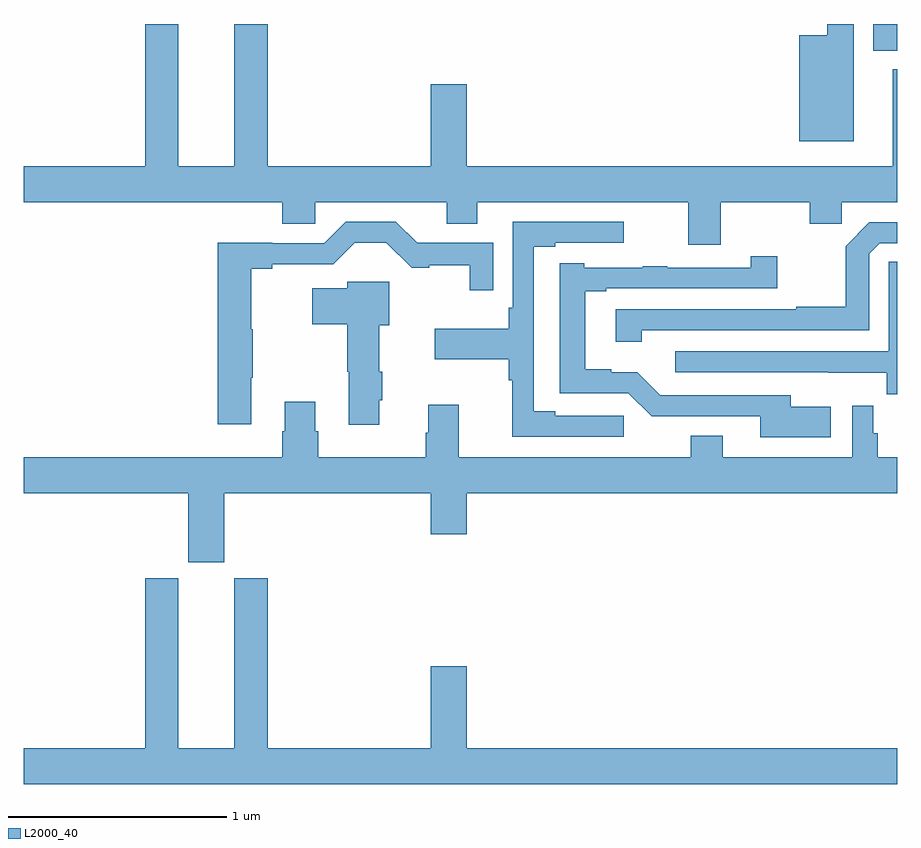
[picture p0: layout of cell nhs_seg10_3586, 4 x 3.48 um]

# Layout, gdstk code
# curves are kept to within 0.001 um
import gdstk
lib = gdstk.Library(unit=1e-6, precision=1e-09)
def R(c, l, rs):  # rectangles x0, y0, x1, y1
    for r in rs: c.add(gdstk.rectangle(r[:2], r[2:], *l))
def P(c, l, *ps):  # polygons
    for p in ps: c.add(gdstk.Polygon(p, *l))
L2000_40 = (2000, 40)

nhs_seg10_3586 = lib.new_cell('nhs_seg10_3586')
R(nhs_seg10_3586, L2000_40, [(310.889,1266.377,311,1266.5)])
P(nhs_seg10_3586, L2000_40, [(310.801,1266.5),(310.68,1266.5),(310.68,1266.448),(310.55,1266.448),(310.55,1265.963),(310.801,1265.963)],
  [(310.191,1265.684),(310.6,1265.684),(310.6,1265.586),(310.745,1265.586),(310.745,1265.684),(311,1265.684),(311,1266.292),(310.979,1266.292),(310.979,1265.848),(309.028,1265.848),(309.028,1266.223),(308.864,1266.223),(308.864,1265.848),(308.117,1265.848),(308.117,1266.5),(307.964,1266.5),(307.964,1265.848),(307.708,1265.848),(307.708,1266.5),(307.556,1266.5),(307.556,1265.848),(307,1265.848),(307,1265.684),(308.183,1265.684),(308.183,1265.586),(308.334,1265.586),(308.334,1265.684),(308.936,1265.684),(308.936,1265.585),(309.076,1265.585),(309.076,1265.684),(310.043,1265.684),(310.043,1265.49),(310.191,1265.49)],
  [(308.041,1264.88),(308.049,1264.88),(308.049,1265.103),(308.041,1265.103),(308.041,1265.38),(308.137,1265.38),(308.137,1265.4),(308.418,1265.4),(308.516,1265.498),(308.661,1265.498),(308.776,1265.383),(308.857,1265.383),(308.857,1265.395),(309.042,1265.395),(309.042,1265.28),(309.15,1265.28),(309.15,1265.498),(308.801,1265.498),(308.703,1265.595),(308.475,1265.595),(308.376,1265.496),(308.137,1265.496),(308.137,1265.498),(307.889,1265.498),(307.889,1264.668),(308.041,1264.668)],
  [(309.748,1264.707),(309.433,1264.707),(309.433,1264.727),(309.336,1264.727),(309.336,1265.481),(309.433,1265.481),(309.433,1265.499),(309.748,1265.499),(309.748,1265.595),(309.24,1265.595),(309.24,1265.2),(309.22,1265.2),(309.22,1265.104),(308.883,1265.104),(308.883,1264.964),(309.22,1264.964),(309.22,1264.868),(309.238,1264.868),(309.238,1264.611),(309.748,1264.611)],
  [(309.831,1265.097),(310.872,1265.097),(310.872,1265.448),(310.92,1265.496),(311,1265.496),(311,1265.592),(310.872,1265.592),(310.764,1265.483),(310.764,1265.206),(310.537,1265.206),(310.537,1265.193),(309.711,1265.193),(309.711,1265.046),(309.831,1265.046)],
  [(310.696,1264.747),(310.513,1264.747),(310.513,1264.8),(309.915,1264.8),(309.809,1264.906),(309.69,1264.906),(309.69,1264.918),(309.571,1264.918),(309.571,1265.277),(309.667,1265.277),(309.667,1265.289),(310.45,1265.289),(310.45,1265.437),(310.329,1265.437),(310.329,1265.385),(309.947,1265.385),(309.947,1265.39),(309.835,1265.39),(309.835,1265.385),(309.567,1265.385),(309.567,1265.404),(309.455,1265.404),(309.455,1264.809),(309.768,1264.809),(309.875,1264.703),(310.373,1264.704),(310.373,1264.607),(310.696,1264.607)],
  [(311,1265.411),(310.962,1265.411),(310.962,1265.303),(310.961,1265.303),(310.961,1265.001),(309.984,1265.001),(309.984,1264.905),(310.683,1264.905),(310.683,1264.904),(310.952,1264.904),(310.952,1264.805),(311,1264.805)],
  [(308.629,1264.777),(308.642,1264.777),(308.642,1264.907),(308.629,1264.907),(308.629,1265.12),(308.674,1265.12),(308.674,1265.32),(308.482,1265.32),(308.482,1265.29),(308.322,1265.29),(308.322,1265.125),(308.482,1265.125),(308.482,1264.907),(308.489,1264.907),(308.489,1264.665),(308.629,1264.665)],
  [(307.918,1264.352),(308.864,1264.352),(308.864,1264.164),(309.028,1264.164),(309.028,1264.352),(311,1264.352),(311,1264.516),(310.91,1264.516),(310.91,1264.626),(310.891,1264.626),(310.891,1264.753),(310.794,1264.753),(310.794,1264.516),(310.201,1264.516),(310.201,1264.615),(310.054,1264.615),(310.054,1264.516),(308.992,1264.516),(308.992,1264.756),(308.852,1264.756),(308.852,1264.628),(308.84,1264.628),(308.84,1264.516),(308.348,1264.516),(308.348,1264.635),(308.335,1264.635),(308.335,1264.771),(308.195,1264.771),(308.195,1264.635),(308.183,1264.635),(308.183,1264.516),(307,1264.516),(307,1264.352),(307.754,1264.352),(307.754,1264.035),(307.918,1264.035)],
  [(311,1263.184),(309.028,1263.184),(309.028,1263.559),(308.864,1263.559),(308.864,1263.184),(308.117,1263.184),(308.117,1263.963),(307.964,1263.963),(307.964,1263.184),(307.708,1263.184),(307.708,1263.963),(307.556,1263.963),(307.556,1263.184),(307,1263.184),(307,1263.02),(311,1263.02)])

lib.write_gds('nhs_seg10_3586.gds')
